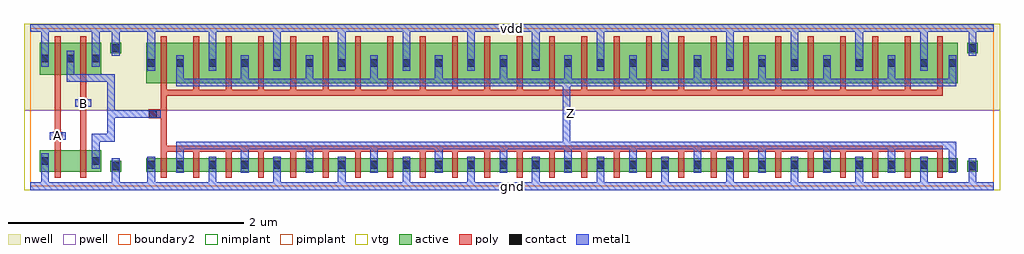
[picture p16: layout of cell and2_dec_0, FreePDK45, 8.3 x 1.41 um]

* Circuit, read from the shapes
.subckt and2_dec_0 A B Z gnd vdd
M1 pnand2_0/nmos_m1_w0_180_sm1_dactive_2/D A gnd gnd nfet w=0.18u l=0.05u
M2 pinv_0_1/A B pnand2_0/nmos_m1_w0_180_sm1_dactive_2/D gnd nfet w=0.18u l=0.05u
M3 Z pinv_0_1/A gnd gnd nfet w=0.115u l=0.05u m=25
M4 pinv_0_1/A A vdd vdd pfet w=0.27u l=0.05u
M5 vdd B pinv_0_1/A vdd pfet w=0.27u l=0.05u
M6 Z pinv_0_1/A vdd vdd pfet w=0.345u l=0.05u m=25
.ends

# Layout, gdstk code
import gdstk
lib = gdstk.Library(unit=1e-6, precision=5e-10)
def R(c, l, rs):  # rectangles x0, y0, x1, y1
    for r in rs: c.add(gdstk.rectangle(r[:2], r[2:], *l))
def A(c, l, x, y, w, h, nx, ny, dx, dy):  # array of equal rectangles
    R(c, l, [(x+i*dx, y+j*dy, x+i*dx+w, y+j*dy+h) for i in range(nx) for j in range(ny)])
active = (1, 0)
pwell = (2, 0)
nwell = (3, 0)
nimplant = (4, 0)
pimplant = (5, 0)
vtg = (6, 0)
poly = (9, 0)
contact = (10, 0)
metal1 = (11, 0)
boundary2 = (239, 0)

contact_11 = lib.new_cell('contact_11')
R(contact_11, active, [(0,0.0225,0.09,0.1125)])
R(contact_11, nwell, [(-0.055,-0.0325,0.145,0.1675)])
R(contact_11, pimplant, [(0,0.0225,0.09,0.1125)])
R(contact_11, contact, [(0.0125,0.035,0.0775,0.1)])
R(contact_11, metal1, [(0.0125,0,0.0775,0.135)])
R(contact_11, boundary2, [(-0.055,-0.0325,0.145,0.1675)])

pmos_m1_w0_270_sm1_dm1 = lib.new_cell('pmos_m1_w0_270_sm1_dm1')
R(pmos_m1_w0_270_sm1_dm1, active, [(0,0,0.305,0.27)])
R(pmos_m1_w0_270_sm1_dm1, nwell, [(-0.08,-0.08,0.385,0.35)])
R(pmos_m1_w0_270_sm1_dm1, pimplant, [(0,0,0.305,0.27)])
R(pmos_m1_w0_270_sm1_dm1, vtg, [(-0.08,-0.08,0.385,0.35)])
R(pmos_m1_w0_270_sm1_dm1, poly, [(0.1275,-0.055,0.1775,0.325), (0.1275,-0.055,0.1775,0.325)])
R(pmos_m1_w0_270_sm1_dm1, metal1, [(0.0125,0.0675,0.0775,0.2025), (0.2275,0.0675,0.2925,0.2025)])
R(pmos_m1_w0_270_sm1_dm1, boundary2, [(-0.08,-0.08,0.385,0.35)])
pmos_m1_w0_270_sm1_dm1.add(gdstk.Reference(contact_11, (0,0.0675)))
pmos_m1_w0_270_sm1_dm1.add(gdstk.Reference(contact_11, (0.215,0.0675)))
pmos_m1_w0_270_sm1_dm1.add(gdstk.Label('G', (0.1525,0.135), layer=9, texttype=0))
pmos_m1_w0_270_sm1_dm1.add(gdstk.Label('S', (0.045,0.135), layer=11, texttype=0))
pmos_m1_w0_270_sm1_dm1.add(gdstk.Label('D', (0.26,0.135), layer=11, texttype=0))

contact_10 = lib.new_cell('contact_10')
R(contact_10, active, [(0,0.0225,0.09,0.1125)])
R(contact_10, pwell, [(-0.055,-0.0325,0.145,0.1675)])
R(contact_10, nimplant, [(0,0.0225,0.09,0.1125)])
R(contact_10, contact, [(0.0125,0.035,0.0775,0.1)])
R(contact_10, metal1, [(0.0125,0,0.0775,0.135)])
R(contact_10, boundary2, [(-0.055,-0.0325,0.145,0.1675)])

nmos_m1_w0_180_sm1_dacti = lib.new_cell('nmos_m1_w0_180_sm1_dactive')
R(nmos_m1_w0_180_sm1_dacti, active, [(0,0,0.305,0.18), (0.215,0.045,0.305,0.135)])
R(nmos_m1_w0_180_sm1_dacti, pwell, [(-0.08,-0.08,0.385,0.26)])
R(nmos_m1_w0_180_sm1_dacti, nimplant, [(0,0,0.305,0.18)])
R(nmos_m1_w0_180_sm1_dacti, vtg, [(-0.08,-0.08,0.385,0.26)])
R(nmos_m1_w0_180_sm1_dacti, poly, [(0.1275,-0.055,0.1775,0.235), (0.1275,-0.055,0.1775,0.235)])
R(nmos_m1_w0_180_sm1_dacti, metal1, [(0.0125,0.0225,0.0775,0.1575)])
R(nmos_m1_w0_180_sm1_dacti, boundary2, [(-0.08,-0.08,0.385,0.26)])
nmos_m1_w0_180_sm1_dacti.add(gdstk.Reference(contact_10, (0,0.0225)))
nmos_m1_w0_180_sm1_dacti.add(gdstk.Label('G', (0.1525,0.09), layer=9, texttype=0))
nmos_m1_w0_180_sm1_dacti.add(gdstk.Label('S', (0.045,0.09), layer=11, texttype=0))
nmos_m1_w0_180_sm1_dacti.add(gdstk.Label('D', (0.26,0.09), layer=1, texttype=0))

nmos_m1_w0_180_sactive_d = lib.new_cell('nmos_m1_w0_180_sactive_dm1')
R(nmos_m1_w0_180_sactive_d, active, [(0,0,0.305,0.18), (0,0.045,0.09,0.135)])
R(nmos_m1_w0_180_sactive_d, pwell, [(-0.08,-0.08,0.385,0.26)])
R(nmos_m1_w0_180_sactive_d, nimplant, [(0,0,0.305,0.18)])
R(nmos_m1_w0_180_sactive_d, vtg, [(-0.08,-0.08,0.385,0.26)])
R(nmos_m1_w0_180_sactive_d, poly, [(0.1275,-0.055,0.1775,0.235), (0.1275,-0.055,0.1775,0.235)])
R(nmos_m1_w0_180_sactive_d, metal1, [(0.2275,0.0225,0.2925,0.1575)])
R(nmos_m1_w0_180_sactive_d, boundary2, [(-0.08,-0.08,0.385,0.26)])
nmos_m1_w0_180_sactive_d.add(gdstk.Reference(contact_10, (0.215,0.0225)))
nmos_m1_w0_180_sactive_d.add(gdstk.Label('G', (0.1525,0.09), layer=9, texttype=0))
nmos_m1_w0_180_sactive_d.add(gdstk.Label('S', (0.045,0.09), layer=1, texttype=0))
nmos_m1_w0_180_sactive_d.add(gdstk.Label('D', (0.26,0.09), layer=11, texttype=0))

contact_12 = lib.new_cell('contact_12')
R(contact_12, active, [(0,0.0225,0.09,0.1125)])
R(contact_12, nwell, [(-0.055,-0.0325,0.145,0.1675)])
R(contact_12, nimplant, [(0,0.0225,0.09,0.1125)])
R(contact_12, contact, [(0.0125,0.035,0.0775,0.1)])
R(contact_12, metal1, [(0.0125,0,0.0775,0.135)])
R(contact_12, boundary2, [(-0.055,-0.0325,0.145,0.1675)])

contact_13 = lib.new_cell('contact_13')
R(contact_13, active, [(0,0.0225,0.09,0.1125)])
R(contact_13, pwell, [(-0.055,-0.0325,0.145,0.1675)])
R(contact_13, pimplant, [(0,0.0225,0.09,0.1125)])
R(contact_13, contact, [(0.0125,0.035,0.0775,0.1)])
R(contact_13, metal1, [(0.0125,0,0.0775,0.135)])
R(contact_13, boundary2, [(-0.055,-0.0325,0.145,0.1675)])

contact_14 = lib.new_cell('contact_14')
R(contact_14, poly, [(0.03,0,0.105,0.075)])
R(contact_14, contact, [(0.035,0.005,0.1,0.07)])
R(contact_14, metal1, [(0,0.005,0.135,0.07)])
R(contact_14, boundary2, [(0,0,0.135,0.075)])

pnand2 = lib.new_cell('pnand2')
R(pnand2, pwell, [(-0.055,-0.0325,0.9575,0.645)])
R(pnand2, nwell, [(-0.055,0.645,0.9575,1.38)])
R(pnand2, vtg, [(-0.055,-0.0325,0.9575,0.645), (-0.055,0.645,0.9575,1.38)])
R(pnand2, poly, [(0.2075,0.36,0.2575,0.895), (0.4225,0.36,0.4725,0.895), (0.2075,0.39,0.2325,0.465), (0.4225,0.67,0.4475,0.745)])
R(pnand2, metal1, [(0,-0.0325,0.9025,0.0325), (0.0925,-0.0325,0.1575,0.1475), (0.6925,0,0.7575,0.17), (0.5225,0.2825,0.5875,0.4125), (0.5225,0.38,0.5875,0.445), (0.555,0.38,0.685,0.445), (0.6525,0.38,0.7175,0.445), (0.165,0.395,0.3,0.46), (0.6525,0.4125,0.7175,0.92), (0.38,0.675,0.515,0.74), (0.3075,0.8875,0.3725,0.9525), (0.34,0.8875,0.685,0.9525), (0.6525,0.8875,0.7175,0.9525), (0.3075,0.92,0.3725,1.0175), (0.0925,1.0175,0.1575,1.3775), (0.5225,1.0175,0.5875,1.3775), (0.6925,1.175,0.7575,1.345), (0,1.3125,0.9025,1.3775)])
R(pnand2, boundary2, [(0,0,0.9025,1.345), (0,0,0.9025,1.345)])
pnand2.add(gdstk.Reference(pmos_m1_w0_270_sm1_dm1, (0.08,0.95)))
pnand2.add(gdstk.Reference(pmos_m1_w0_270_sm1_dm1, (0.295,0.95)))
pnand2.add(gdstk.Reference(nmos_m1_w0_180_sm1_dacti, (0.08,0.125)))
pnand2.add(gdstk.Reference(nmos_m1_w0_180_sactive_d, (0.295,0.125)))
pnand2.add(gdstk.Reference(contact_12, (0.68,1.1075)))
pnand2.add(gdstk.Reference(contact_13, (0.68,0.1025)))
pnand2.add(gdstk.Reference(contact_14, (0.165,0.39)))
pnand2.add(gdstk.Reference(contact_14, (0.38,0.67)))
pnand2.add(gdstk.Label('Z', (0.685,0.92), layer=11, texttype=0))
pnand2.add(gdstk.Label('gnd', (0.451,0), layer=11, texttype=0))
pnand2.add(gdstk.Label('vdd', (0.451,1.345), layer=11, texttype=0))
pnand2.add(gdstk.Label('A', (0.2325,0.4275), layer=11, texttype=0))
pnand2.add(gdstk.Label('B', (0.4475,0.7075), layer=11, texttype=0))

pmos_m25_w0_345_sm1_dm1_ = lib.new_cell('pmos_m25_w0_345_sm1_dm1_da_p')
R(pmos_m25_w0_345_sm1_dm1_, active, [(0,0,6.905,0.345)])
R(pmos_m25_w0_345_sm1_dm1_, nwell, [(-0.08,-0.08,6.985,0.425)])
R(pmos_m25_w0_345_sm1_dm1_, pimplant, [(0,0,6.905,0.345)])
R(pmos_m25_w0_345_sm1_dm1_, vtg, [(-0.08,-0.08,6.985,0.425)])
A(pmos_m25_w0_345_sm1_dm1_, poly, 0.1275, -0.055, 0.05, 0.455, 25, 1, 0.275, 0)
R(pmos_m25_w0_345_sm1_dm1_, poly, [(0.1275,-0.105,6.7775,-0.055)])
A(pmos_m25_w0_345_sm1_dm1_, metal1, 0.2575, 0.0075, 0.065, 0.165, 12, 1, 0.55, 0)
A(pmos_m25_w0_345_sm1_dm1_, metal1, 0.5325, 0.105, 0.065, 0.135, 12, 1, 0.55, 0)
R(pmos_m25_w0_345_sm1_dm1_, metal1, [(0.2575,-0.025,6.8925,0.04), (6.8275,0.0075,6.8925,0.1725), (0.0125,0.105,0.0775,0.24)])
R(pmos_m25_w0_345_sm1_dm1_, boundary2, [(-0.08,-0.105,6.985,0.425)])
pmos_m25_w0_345_sm1_dm1_.add(gdstk.Reference(contact_11, (0,0.105)))
pmos_m25_w0_345_sm1_dm1_.add(gdstk.Reference(contact_11, (0.245,0.105)))
pmos_m25_w0_345_sm1_dm1_.add(gdstk.Reference(contact_11, (0.52,0.105)))
pmos_m25_w0_345_sm1_dm1_.add(gdstk.Reference(contact_11, (0.795,0.105)))
pmos_m25_w0_345_sm1_dm1_.add(gdstk.Reference(contact_11, (1.07,0.105)))
pmos_m25_w0_345_sm1_dm1_.add(gdstk.Reference(contact_11, (1.345,0.105)))
pmos_m25_w0_345_sm1_dm1_.add(gdstk.Reference(contact_11, (1.62,0.105)))
pmos_m25_w0_345_sm1_dm1_.add(gdstk.Reference(contact_11, (1.895,0.105)))
pmos_m25_w0_345_sm1_dm1_.add(gdstk.Reference(contact_11, (2.17,0.105)))
pmos_m25_w0_345_sm1_dm1_.add(gdstk.Reference(contact_11, (2.445,0.105)))
pmos_m25_w0_345_sm1_dm1_.add(gdstk.Reference(contact_11, (2.72,0.105)))
pmos_m25_w0_345_sm1_dm1_.add(gdstk.Reference(contact_11, (2.995,0.105)))
pmos_m25_w0_345_sm1_dm1_.add(gdstk.Reference(contact_11, (3.27,0.105)))
pmos_m25_w0_345_sm1_dm1_.add(gdstk.Reference(contact_11, (3.545,0.105)))
pmos_m25_w0_345_sm1_dm1_.add(gdstk.Reference(contact_11, (3.82,0.105)))
pmos_m25_w0_345_sm1_dm1_.add(gdstk.Reference(contact_11, (4.095,0.105)))
pmos_m25_w0_345_sm1_dm1_.add(gdstk.Reference(contact_11, (4.37,0.105)))
pmos_m25_w0_345_sm1_dm1_.add(gdstk.Reference(contact_11, (4.645,0.105)))
pmos_m25_w0_345_sm1_dm1_.add(gdstk.Reference(contact_11, (4.92,0.105)))
pmos_m25_w0_345_sm1_dm1_.add(gdstk.Reference(contact_11, (5.195,0.105)))
pmos_m25_w0_345_sm1_dm1_.add(gdstk.Reference(contact_11, (5.47,0.105)))
pmos_m25_w0_345_sm1_dm1_.add(gdstk.Reference(contact_11, (5.745,0.105)))
pmos_m25_w0_345_sm1_dm1_.add(gdstk.Reference(contact_11, (6.02,0.105)))
pmos_m25_w0_345_sm1_dm1_.add(gdstk.Reference(contact_11, (6.295,0.105)))
pmos_m25_w0_345_sm1_dm1_.add(gdstk.Reference(contact_11, (6.57,0.105)))
pmos_m25_w0_345_sm1_dm1_.add(gdstk.Reference(contact_11, (6.815,0.105)))
pmos_m25_w0_345_sm1_dm1_.add(gdstk.Label('G', (3.4525,-0.08), layer=9, texttype=0))
pmos_m25_w0_345_sm1_dm1_.add(gdstk.Label('S', (3.865,0.1725), layer=11, texttype=0))
pmos_m25_w0_345_sm1_dm1_.add(gdstk.Label('S', (0.565,0.1725), layer=11, texttype=0))
pmos_m25_w0_345_sm1_dm1_.add(gdstk.Label('S', (2.765,0.1725), layer=11, texttype=0))
pmos_m25_w0_345_sm1_dm1_.add(gdstk.Label('S', (6.065,0.1725), layer=11, texttype=0))
pmos_m25_w0_345_sm1_dm1_.add(gdstk.Label('S', (5.515,0.1725), layer=11, texttype=0))
pmos_m25_w0_345_sm1_dm1_.add(gdstk.Label('S', (0.045,0.1725), layer=11, texttype=0))
pmos_m25_w0_345_sm1_dm1_.add(gdstk.Label('S', (3.315,0.1725), layer=11, texttype=0))
pmos_m25_w0_345_sm1_dm1_.add(gdstk.Label('S', (4.965,0.1725), layer=11, texttype=0))
pmos_m25_w0_345_sm1_dm1_.add(gdstk.Label('S', (2.215,0.1725), layer=11, texttype=0))
pmos_m25_w0_345_sm1_dm1_.add(gdstk.Label('S', (4.415,0.1725), layer=11, texttype=0))
pmos_m25_w0_345_sm1_dm1_.add(gdstk.Label('S', (6.615,0.1725), layer=11, texttype=0))
pmos_m25_w0_345_sm1_dm1_.add(gdstk.Label('S', (1.115,0.1725), layer=11, texttype=0))
pmos_m25_w0_345_sm1_dm1_.add(gdstk.Label('S', (1.665,0.1725), layer=11, texttype=0))
pmos_m25_w0_345_sm1_dm1_.add(gdstk.Label('D', (3.575,0.0075), layer=11, texttype=0))

nmos_m25_w0_115_sm1_dm1_ = lib.new_cell('nmos_m25_w0_115_sm1_dm1_da_p')
R(nmos_m25_w0_115_sm1_dm1_, active, [(0,0,6.905,0.115)])
R(nmos_m25_w0_115_sm1_dm1_, pwell, [(-0.08,-0.08,6.985,0.195)])
R(nmos_m25_w0_115_sm1_dm1_, nimplant, [(0,0,6.905,0.115)])
R(nmos_m25_w0_115_sm1_dm1_, vtg, [(-0.08,-0.08,6.985,0.195)])
A(nmos_m25_w0_115_sm1_dm1_, poly, 0.1275, -0.055, 0.05, 0.225, 25, 1, 0.275, 0)
R(nmos_m25_w0_115_sm1_dm1_, poly, [(0.1275,0.17,6.7775,0.22)])
A(nmos_m25_w0_115_sm1_dm1_, metal1, 0.5325, -0.01, 0.065, 0.135, 12, 1, 0.55, 0)
A(nmos_m25_w0_115_sm1_dm1_, metal1, 0.2575, 0.0575, 0.065, 0.165, 12, 1, 0.55, 0)
R(nmos_m25_w0_115_sm1_dm1_, metal1, [(0.0125,-0.01,0.0775,0.125), (6.8275,0.0575,6.8925,0.2225), (0.2575,0.19,6.8925,0.255)])
R(nmos_m25_w0_115_sm1_dm1_, boundary2, [(-0.08,-0.08,6.985,0.255)])
nmos_m25_w0_115_sm1_dm1_.add(gdstk.Reference(contact_10, (0,-0.01)))
nmos_m25_w0_115_sm1_dm1_.add(gdstk.Reference(contact_10, (0.245,-0.01)))
nmos_m25_w0_115_sm1_dm1_.add(gdstk.Reference(contact_10, (0.52,-0.01)))
nmos_m25_w0_115_sm1_dm1_.add(gdstk.Reference(contact_10, (0.795,-0.01)))
nmos_m25_w0_115_sm1_dm1_.add(gdstk.Reference(contact_10, (1.07,-0.01)))
nmos_m25_w0_115_sm1_dm1_.add(gdstk.Reference(contact_10, (1.345,-0.01)))
nmos_m25_w0_115_sm1_dm1_.add(gdstk.Reference(contact_10, (1.62,-0.01)))
nmos_m25_w0_115_sm1_dm1_.add(gdstk.Reference(contact_10, (1.895,-0.01)))
nmos_m25_w0_115_sm1_dm1_.add(gdstk.Reference(contact_10, (2.17,-0.01)))
nmos_m25_w0_115_sm1_dm1_.add(gdstk.Reference(contact_10, (2.445,-0.01)))
nmos_m25_w0_115_sm1_dm1_.add(gdstk.Reference(contact_10, (2.72,-0.01)))
nmos_m25_w0_115_sm1_dm1_.add(gdstk.Reference(contact_10, (2.995,-0.01)))
nmos_m25_w0_115_sm1_dm1_.add(gdstk.Reference(contact_10, (3.27,-0.01)))
nmos_m25_w0_115_sm1_dm1_.add(gdstk.Reference(contact_10, (3.545,-0.01)))
nmos_m25_w0_115_sm1_dm1_.add(gdstk.Reference(contact_10, (3.82,-0.01)))
nmos_m25_w0_115_sm1_dm1_.add(gdstk.Reference(contact_10, (4.095,-0.01)))
nmos_m25_w0_115_sm1_dm1_.add(gdstk.Reference(contact_10, (4.37,-0.01)))
nmos_m25_w0_115_sm1_dm1_.add(gdstk.Reference(contact_10, (4.645,-0.01)))
nmos_m25_w0_115_sm1_dm1_.add(gdstk.Reference(contact_10, (4.92,-0.01)))
nmos_m25_w0_115_sm1_dm1_.add(gdstk.Reference(contact_10, (5.195,-0.01)))
nmos_m25_w0_115_sm1_dm1_.add(gdstk.Reference(contact_10, (5.47,-0.01)))
nmos_m25_w0_115_sm1_dm1_.add(gdstk.Reference(contact_10, (5.745,-0.01)))
nmos_m25_w0_115_sm1_dm1_.add(gdstk.Reference(contact_10, (6.02,-0.01)))
nmos_m25_w0_115_sm1_dm1_.add(gdstk.Reference(contact_10, (6.295,-0.01)))
nmos_m25_w0_115_sm1_dm1_.add(gdstk.Reference(contact_10, (6.57,-0.01)))
nmos_m25_w0_115_sm1_dm1_.add(gdstk.Reference(contact_10, (6.815,-0.01)))
nmos_m25_w0_115_sm1_dm1_.add(gdstk.Label('G', (3.4525,0.195), layer=9, texttype=0))
nmos_m25_w0_115_sm1_dm1_.add(gdstk.Label('S', (6.065,0.0575), layer=11, texttype=0))
nmos_m25_w0_115_sm1_dm1_.add(gdstk.Label('S', (2.765,0.0575), layer=11, texttype=0))
nmos_m25_w0_115_sm1_dm1_.add(gdstk.Label('S', (0.045,0.0575), layer=11, texttype=0))
nmos_m25_w0_115_sm1_dm1_.add(gdstk.Label('S', (5.515,0.0575), layer=11, texttype=0))
nmos_m25_w0_115_sm1_dm1_.add(gdstk.Label('S', (4.965,0.0575), layer=11, texttype=0))
nmos_m25_w0_115_sm1_dm1_.add(gdstk.Label('S', (4.415,0.0575), layer=11, texttype=0))
nmos_m25_w0_115_sm1_dm1_.add(gdstk.Label('S', (1.665,0.0575), layer=11, texttype=0))
nmos_m25_w0_115_sm1_dm1_.add(gdstk.Label('S', (3.315,0.0575), layer=11, texttype=0))
nmos_m25_w0_115_sm1_dm1_.add(gdstk.Label('S', (1.115,0.0575), layer=11, texttype=0))
nmos_m25_w0_115_sm1_dm1_.add(gdstk.Label('S', (6.615,0.0575), layer=11, texttype=0))
nmos_m25_w0_115_sm1_dm1_.add(gdstk.Label('S', (0.565,0.0575), layer=11, texttype=0))
nmos_m25_w0_115_sm1_dm1_.add(gdstk.Label('S', (2.215,0.0575), layer=11, texttype=0))
nmos_m25_w0_115_sm1_dm1_.add(gdstk.Label('S', (3.865,0.0575), layer=11, texttype=0))
nmos_m25_w0_115_sm1_dm1_.add(gdstk.Label('D', (3.575,0.2225), layer=11, texttype=0))

pinv_0 = lib.new_cell('pinv_0')
R(pinv_0, pwell, [(-0.055,-0.0325,7.3425,0.645)])
R(pinv_0, nwell, [(-0.055,0.645,7.3425,1.38)])
R(pinv_0, vtg, [(-0.055,-0.0325,7.3425,0.645), (-0.055,0.645,7.3425,1.38)])
R(pinv_0, poly, [(0.2075,0.345,0.2575,0.77), (0.14,0.5775,0.2075,0.6525)])
A(pinv_0, metal1, 0.6125, -0.0325, 0.065, 0.1475, 12, 1, 0.55, 0)
A(pinv_0, metal1, 0.6125, 0.98, 0.065, 0.3975, 12, 1, 0.55, 0)
R(pinv_0, metal1, [(0,-0.0325,7.2875,0.0325), (0.0925,-0.0325,0.1575,0.115), (7.0775,0,7.1425,0.17), (3.6225,0.315,3.6875,0.915), (0.0725,0.5825,0.2075,0.6475), (3.655,0.5825,3.72,0.6475), (0.0925,0.98,0.1575,1.3775), (7.0775,1.175,7.1425,1.345), (0,1.3125,7.2875,1.3775)])
R(pinv_0, boundary2, [(0,0,7.2875,1.345), (0,0,7.2875,1.345)])
pinv_0.add(gdstk.Reference(pmos_m25_w0_345_sm1_dm1_, (0.08,0.875)))
pinv_0.add(gdstk.Reference(nmos_m25_w0_115_sm1_dm1_, (0.08,0.125)))
pinv_0.add(gdstk.Reference(contact_12, (7.065,1.1075)))
pinv_0.add(gdstk.Reference(contact_13, (7.065,0.1025)))
pinv_0.add(gdstk.Reference(contact_14, (0.0725,0.5775)))
pinv_0.add(gdstk.Label('A', (0.14,0.615), layer=11, texttype=0))
pinv_0.add(gdstk.Label('Z', (3.6875,0.615), layer=11, texttype=0))
pinv_0.add(gdstk.Label('gnd', (3.644,0), layer=11, texttype=0))
pinv_0.add(gdstk.Label('vdd', (3.644,1.345), layer=11, texttype=0))

and2_dec_0 = lib.new_cell('and2_dec_0')
R(and2_dec_0, metal1, [(0,-0.0325,8.19,0.0325), (0.165,0.395,0.3,0.46), (0.6525,0.5825,0.7175,0.6475), (0.685,0.5825,1.0425,0.6475), (4.5575,0.5825,4.6225,0.6475), (0.6525,0.615,0.7175,0.92), (0.38,0.675,0.515,0.74), (0,1.3125,8.19,1.3775)])
R(and2_dec_0, boundary2, [(0,0,8.19,1.345)])
and2_dec_0.add(gdstk.Reference(pnand2, (0,0)))
and2_dec_0.add(gdstk.Reference(pinv_0, (0.9025,0)))
and2_dec_0.add(gdstk.Label('Z', (4.59,0.615), layer=11, texttype=0))
and2_dec_0.add(gdstk.Label('A', (0.2325,0.4275), layer=11, texttype=0))
and2_dec_0.add(gdstk.Label('B', (0.4475,0.7075), layer=11, texttype=0))
and2_dec_0.add(gdstk.Label('gnd', (4.095,0), layer=11, texttype=0))
and2_dec_0.add(gdstk.Label('vdd', (4.095,1.345), layer=11, texttype=0))

lib.write_gds('and2_dec_0.gds')
